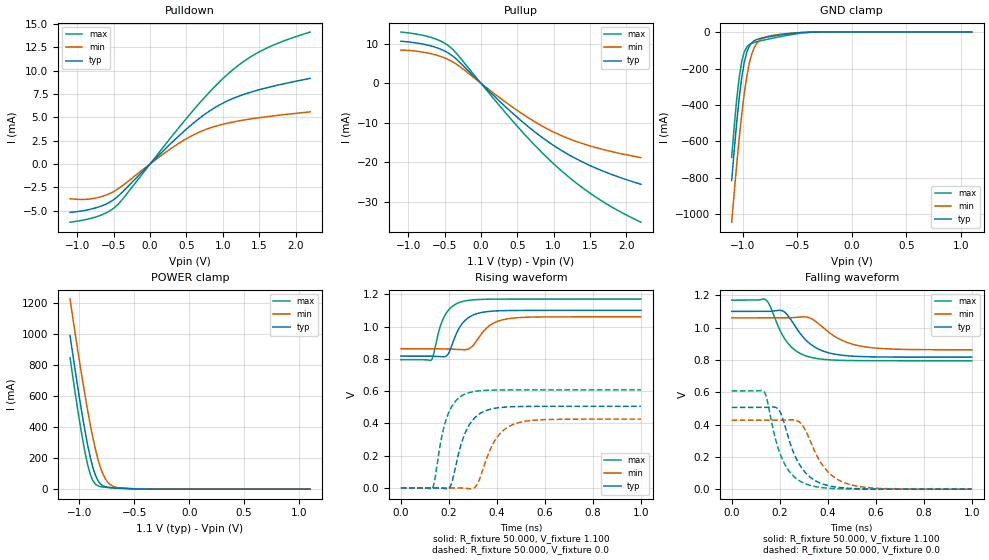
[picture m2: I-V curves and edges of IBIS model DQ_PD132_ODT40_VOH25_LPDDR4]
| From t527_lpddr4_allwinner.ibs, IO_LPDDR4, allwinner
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|   Model DQ_PD132_ODT40_VOH25_LPDDR4
[Model] DQ_PD132_ODT40_VOH25_LPDDR4
Model_type I/O
Polarity   Non-Inverting
Enable   Active-Low
Vinl =  0.550V
Vinh =  0.550V
C_comp   1.598pF   1.563pF   1.648pF
C_comp_pullup   0.511pF   0.493pF   0.532pF
C_comp_pulldown   0.823pF   0.798pF   0.852pF
[Model Spec]
Vinh   0.550V   0.530V   0.585V
Vinl   0.550V   0.530V   0.585V
[Temperature Range]   25.000   0.125k   -40.000
[Voltage Range]   1.100V   1.060V   1.170V
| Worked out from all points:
|   slope of the pulldown table from 0 to 0.165 V, typ, clamps not added: 129 ohm
|   slope of the pullup table from 0 to 0.165 V, typ, clamps not added: 56 ohm
|   GND clamp passes 1 mA (typ) near -0.41 V on its own axis
|   POWER clamp passes 1 mA (typ) near -0.43 V on its own axis
|   rising waveform, R_fixture 50.000, V_fixture 1.100: 20-80 % time 61.8ps typ, 74.7ps min, 52.5ps max; typ from 0.817 V to 1.1 V
|   rising waveform, R_fixture 50.000, V_fixture 0.0: 20-80 % time 67.5ps typ, 80.6ps min, 56.7ps max; typ from 0 V to 0.506 V
|   falling waveform, R_fixture 50.000, V_fixture 1.100: 20-80 % time 104ps typ, 129ps min, 85.2ps max; typ from 1.1 V to 0.817 V
|   falling waveform, R_fixture 50.000, V_fixture 0.0: 20-80 % time 88.3ps typ, 102ps min, 77.8ps max; typ from 0.506 V to 0 V
[Pulldown]
|Voltage   I(typ)   I(min)   I(max)
-1.1V     -5.167mA   -3.71mA    -6.222mA
-930mV    -5.007mA   -3.786mA   -6.016mA
-760mV    -4.72mA    -3.66mA    -5.696mA
-590mV    -4.227mA   -3.277mA   -5.171mA
-454mV    -3.53mA    -2.726mA   -4.421mA
396mV     3.005mA    2.216mA    3.893mA
668mV     4.823mA    3.376mA    6.409mA
940mV     6.252mA    4.128mA    8.672mA
1.212V    7.23mA     4.6mA      10.54mA
1.484V    7.907mA    4.934mA    11.92mA
1.79V     8.494mA    5.234mA    13.02mA
2.2V      9.152mA    5.574mA    14.11mA
[Pullup]
|Voltage   I(typ)   I(min)   I(max)
-1.1V     10.61mA    8.361mA    12.92mA
-690mV    9.44mA     7.47mA     11.6mA
-520mV    8.343mA    6.546mA    10.34mA
-418mV    7.275mA    5.712mA    9.069mA
-282mV    5.122mA    4.114mA    6.357mA
500mV     -8.627mA   -6.884mA   -10.88mA
772mV     -12.75mA   -10.09mA   -16.28mA
1.01V     -15.86mA   -12.43mA   -20.54mA
1.282V    -18.83mA   -14.54mA   -24.81mA
1.554V    -21.26mA   -16.14mA   -28.47mA
1.86V     -23.49mA   -17.55mA   -31.93mA
2.2V      -25.55mA   -18.83mA   -35.14mA
[GND_clamp]
|Voltage   I(typ)   I(min)   I(max)
-1.1V     -814.3mA   -1.043A    -687.3mA
-1.054V   -495.2mA   -726.8mA   -368.6mA
-1.031V   -359.9mA   -582mA     -246.8mA
-1.008V   -249mA     -451mA     -160.6mA
-985mV    -166.3mA   -337.4mA   -109.1mA
-962mV    -111mA     -244.1mA   -82.21mA
-939mV    -77.52mA   -172.2mA   -68.77mA
-893mV    -47.38mA   -84.61mA   -56.67mA
-847mV    -36.3mA    -46.06mA   -49.6mA
-709mV    -20.71mA   -16.6mA    -31.62mA
-364mV    -364.7uA   -458uA     -980.4uA
1.1V      0A         0A         0A
[POWER_clamp]
|Voltage   I(typ)   I(min)   I(max)
-1.085V   991.5mA    1.227A     848.5mA
-1.016V   664.1mA    901.8mA    518.1mA
-970mV    462mA      696.7mA    319.4mA
-924mV    282.7mA    505.5mA    156.2mA
-901mV    206.2mA    417.2mA    96.77mA
-855mV    91.54mA    261mA      33.12mA
-809mV    34.38mA    141.1mA    16.54mA
-763mV    15.18mA    65.46mA    12.33mA
-717mV    9.405mA    28.28mA    10.15mA
-625mV    5.457mA    7.413mA    6.614mA
-441mV    1.152mA    1.562mA    1.233mA
1.1V      0A         0A         0A
[Ramp]
| variable   typ   min   max
dV/dt_r   0.303/67.543p   0.256/80.607p   0.365/56.735p
dV/dt_f   0.170/0.104n   0.118/0.129n   0.225/85.258p
R_load = 50.000
[Rising Waveform]
R_fixture= 50.000
V_fixture= 1.100
V_fixture_min= 1.060
V_fixture_max= 1.170
|time   V(typ)   V(min)   V(max)
0s        816.9mV    862.5mV    794.8mV
127ps     816.5mV    862.5mV    792.9mV
161ps     813.9mV    861.8mV    986.1mV
182ps     812.9mV    861.7mV    1.065V
200ps     837.6mV    860.8mV    1.105V
257ps     1.021V     855.9mV    1.155V
320ps     1.081V     922.3mV    1.167V
370ps     1.094V     1.006V     1.169V
437ps     1.099V     1.046V     1.17V
1ns       1.1V       1.06V      1.17V
[Rising Waveform]
R_fixture= 50.000
V_fixture= 0.0
V_fixture_min= 0.0
V_fixture_max= 0.0
|time   V(typ)   V(min)   V(max)
0s        3.323uV    77.73uV    254.4nV
131ps     522.3uV    152.8uV    -3.168mV
170ps     -582.2uV   35.21uV    315.7mV
192ps     -7.148mV   448.2uV    438.4mV
211ps     27.27mV    465.9uV    501.9mV
271ps     351.3mV    -2.174mV   583.7mV
313ps     441.9mV    11.6mV     599.2mV
392ps     493.6mV    294.6mV    606.5mV
471ps     503.4mV    395mV      607.6mV
1ns       505.8mV    426.3mV    607.9mV
[Falling Waveform]
R_fixture= 50.000
V_fixture= 1.100
V_fixture_min= 1.060
V_fixture_max= 1.170
|time   V(typ)   V(min)   V(max)
0s        1.1V       1.06V      1.17V
142ps     1.1V       1.06V      1.172V
160ps     1.1V       1.06V      1.133V
204ps     1.107V     1.06V      974.9mV
232ps     1.079V     1.06V      907.3mV
274ps     986.6mV    1.064V     849.7mV
329ps     896.9mV    1.057V     816.1mV
442ps     832.4mV    934.3mV    797.8mV
533ps     820.9mV    886.7mV    795.4mV
1ns       816.9mV    862.6mV    794.8mV
[Falling Waveform]
R_fixture= 50.000
V_fixture= 0.0
V_fixture_min= 0.0
V_fixture_max= 0.0
|time   V(typ)   V(min)   V(max)
0s        505.8mV    426.3mV    607.9mV
135ps     505.6mV    426.3mV    602.2mV
147ps     506.1mV    426.4mV    555.8mV
186ps     504.1mV    426.2mV    290.7mV
211ps     444.8mV    426.9mV    185.2mV
258ps     225.5mV    429.2mV    79.83mV
304ps     107.4mV    373.8mV    35.02mV
383ps     30.03mV    138.9mV    8.514mV
471ps     7.347mV    38.96mV    1.755mV
1ns       4.809uV    96.82uV    389nV
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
